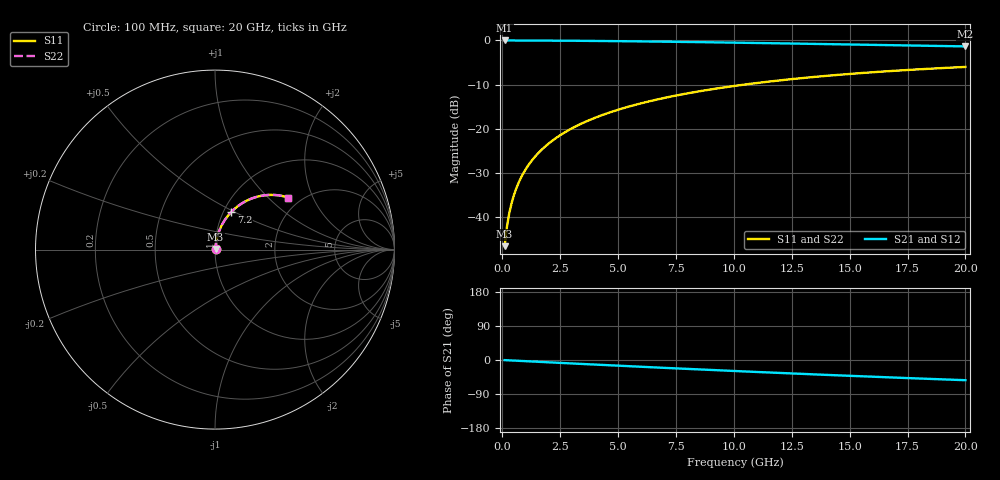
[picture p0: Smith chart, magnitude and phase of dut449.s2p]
! Touchstone file exported from HFSS 2026.1.0
!  File:  C:/ffzhzh/LocalFiles/Ansys_Project_Files/temp_train_TMRDL_449_1783005776_51716.aedt
!  Generated:  11:24:38 PM Jul  2, 2026
!  Design:  TMRDL
!  Project:  temp_train_TMRDL_449_1783005776_51716
! Variables:
!  h_bsmrdl = 2um
!  h_ox = 20um
!  h_rdl = 5um
!  h_sub = 80um
!  h_tmrdl = 5um
!  h_tsv = 80um
!  h_via = 3um
!  l_bsmrdl = 300um
!  l_sub = 1194.85um
!  l_tmrdl = 794.85um
!  m_sub = 200um
!  pitch = 54.26um
!  r_tsv = 6um
!  s_tmrdl = 10um
!  w_bsmrdl = 18um
!  w_sub = 500um
!  w_tmrdl = 19.52um
!  x_tsv_center1 = 804.61um
!  x_tsv_center2 = 1122.61um
!  x_tsv_center3 = 1936.98um
!  x_tsv_center4 = 2254.98um
!  x_tsv_center5 = 3069.35um
!  x_tsv_center6 = 3387.35um
# GHz S MA R 50.000000
! Terminal data exported
! Port[1] = TM_RDL1_1_T1
! Port[2] = TM_RDL1_1_T2
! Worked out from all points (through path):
!   200 points, 100 MHz to 20 GHz, reference 50 ohm
!   highest |S21| = -0.03 dB at 100 MHz (marker M1); lowest = -1.4 dB at 20 GHz (marker M2)
!   group delay of S21, straight-line fit = 7.41 ps
!   lowest |S11| = -46.5 dB at 100 MHz (marker M3), VSWR 1.01, Z = 50.3 + j0.362 ohm
!   |S11| at or under -10 dB: start of sweep to 10.46 GHz
!   |S22| runs from -46.5 to -6.0 dB; largest |S21 - S12| = 3.1e-15
!   S11 on the Smith chart (normalised r, x): 100 MHz: 1.01, +0.01; 7.2 GHz: 1.09, +0.48; 20 GHz: 1.73, +1.33
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0.1  0.004709 49.9  0.997 -0.3  0.997 -0.3  0.004709 49.9
! Gamma 0 0 0 0
! Port Impedance 50 0 50 0
0.2  0.007806 65.5  0.9968 -0.6  0.9968 -0.6  0.007806 65.5
0.3  0.01107 71.8  0.9967 -0.9  0.9967 -0.9  0.01107 71.8
0.4  0.01438 75.1  0.9965 -1.2  0.9965 -1.2  0.01438 75.1
0.5  0.0177 77.1  0.9964 -1.6  0.9964 -1.6  0.0177 77.1
0.7  0.0244 79.4  0.9961 -2.2  0.9961 -2.2  0.0244 79.4
0.8  0.02776 80.0  0.996 -2.5  0.996 -2.5  0.02776 80.0
1  0.03449 80.7  0.9957 -3.1  0.9957 -3.1  0.03449 80.7
1.4  0.04796 80.9  0.9949 -4.3  0.9949 -4.3  0.04796 80.9
1.7  0.05803 80.6  0.9941 -5.2  0.9941 -5.2  0.05803 80.6
2  0.06804 80.1  0.9933 -6.1  0.9933 -6.1  0.06804 80.1
2.7  0.09117 78.6  0.9908 -8.2  0.9908 -8.2  0.09117 78.6
3.5  0.1171 76.5  0.9873 -10.6  0.9873 -10.6  0.1171 76.6
4.2  0.1393 74.7  0.9838 -12.7  0.9838 -12.7  0.1393 74.7
5  0.1641 72.5  0.9793 -15.0  0.9793 -15.0  0.1641 72.5
6.8  0.2177 67.6  0.9675 -20.2  0.9675 -20.2  0.2177 67.6
7.2  0.2292 66.5  0.9647 -21.3  0.9647 -21.3  0.2292 66.5
8.6  0.268 62.8  0.954 -25.2  0.954 -25.2  0.268 62.8
10.1  0.3072 58.9  0.9416 -29.2  0.9416 -29.2  0.3072 58.9
13.4  0.3843 50.6  0.9123 -37.8  0.9123 -37.8  0.3843 50.6
16.7  0.4486 42.7  0.8823 -45.8  0.8823 -45.8  0.4486 42.8
20  0.5006 35.4  0.8541 -53.3  0.8541 -53.3  0.5006 35.4
